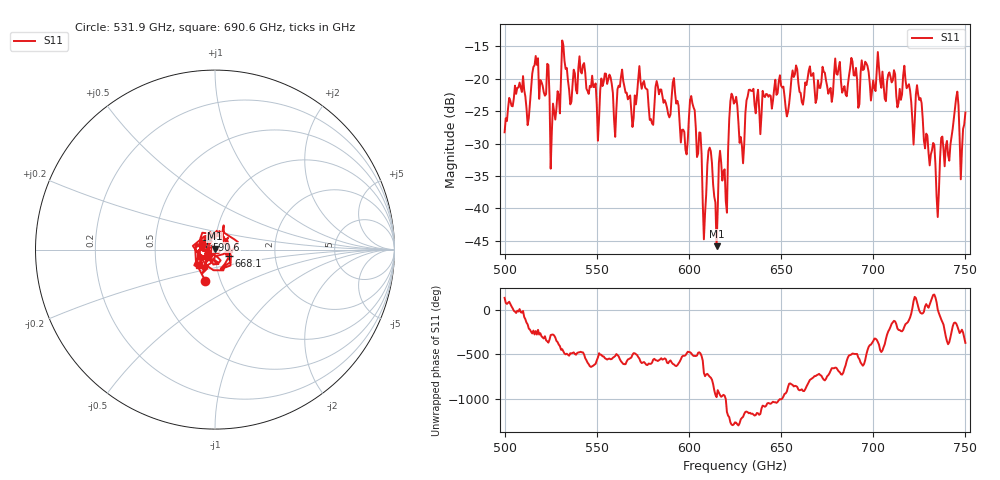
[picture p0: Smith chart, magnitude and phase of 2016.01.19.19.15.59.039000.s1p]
!Created with skrf (http://scikit-rf.org).
# GHz S RI R 50.0
!freq ReS11 ImS11
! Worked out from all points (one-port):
!   401 points, 500 GHz to 750 GHz, reference 50 ohm
!   lowest |S11| = -45.8 dB at 615 GHz (marker M1), VSWR 1.01, Z = 49.9 + j0.505 ohm
!   |S11| at or under -10 dB: start of sweep to end of sweep
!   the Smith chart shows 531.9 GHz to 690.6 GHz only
!   S11 on the Smith chart (normalised r, x): 531.9 GHz: 0.85, -0.30; 590.6 GHz: 0.91, +0.10; 668.1 GHz: 1.16, -0.08; 690.6 GHz: 0.83, -0.14
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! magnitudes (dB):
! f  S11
! 500 GHz  -28.3
! 506.9 GHz  -21.4
! 513.1 GHz  -26.1
! 516.9 GHz  -16.5
! 526.2 GHz  -23.8
! 531.2 GHz  -14.1
! 531.9 GHz  -14.8
! 550.6 GHz  -29.6
! 562.5 GHz  -21.3
! 590.6 GHz  -22.9
! 593.8 GHz  -23.4
! 598.1 GHz  -31.0
! 601.9 GHz  -23.8
! 608.1 GHz  -44.8
! 611.2 GHz  -30.6
! 615 GHz  -45.8
! 625 GHz  -23.6
! 628.8 GHz  -30.3
! 633.1 GHz  -21.7
! 656.2 GHz  -18.7
! 668.1 GHz  -21.5
! 687.5 GHz  -18.3
! 690.6 GHz  -18.3
! 718.8 GHz  -21.2
! 735 GHz  -41.3
! 745 GHz  -22.9
! 748.1 GHz  -31.1
! 750 GHz  -25.2
